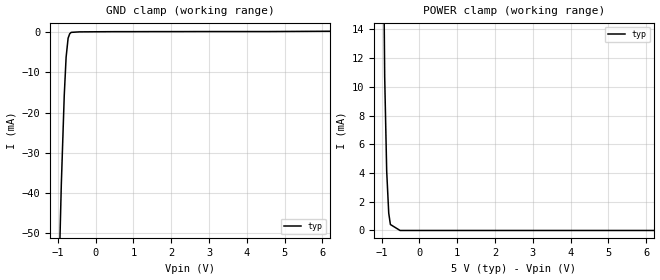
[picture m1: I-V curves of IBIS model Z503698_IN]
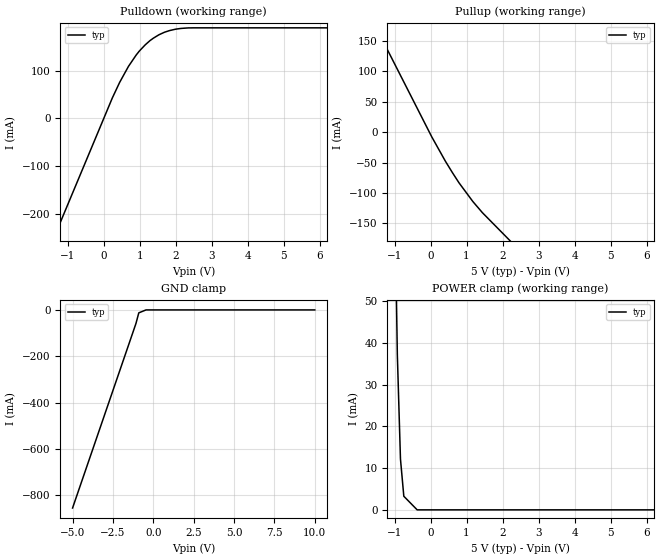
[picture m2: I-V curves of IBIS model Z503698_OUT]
| YOU ARE ONLY AUTHORIZED TO USE THIS SOFTWARE
| ACCORDING TO LICENSOR'S LICENSE RESTRICTIONS.
[IBIS Ver] 3.1
[File Name] mc74ac02n.ibs
[File Rev] 2.0
[Source] Measured and created by ICX Technology
[Date] Friday 7/14/00 9:07:58 AM
[Copyright]
| (C) COPYRIGHT 1993-2000
| MENTOR GRAPHICS CORPORATION
| ICX STANDARD LIBRARY, ICX PROJECT MODELING,
| ICX CUSTOM MODELING, ICX VENDOR MODEL
| ALL RIGHTS RESERVED.
| THE FOLLOWING ARE TRADEMARKS OR SERVICE MARKS OF
| MENTOR GRAPHICS CORPORATION:ICX (R), ICX STANDARD
| LIBRARY(R), ICX PROJECT MODELING(R), ICX CUSTOM
| MODELING(R), qualityIBIS(TM), MODELVIEWER(TM),
| AND MODELEDITOR(TM)
| ALL COPIES OF SOFTWARE, INCLUDING BUT NOT LIMITED TO
| ANY MODIFICATIONS, ENHANCEMENTS OR DERIVATIVE WORKS,
| MUST CONTAIN ALL MENTOR GRAPHICS CORPORATION'S
| NOTICES AND LEGENDS, INCLUDING THOSE EMBEDDED IN
| SOFTWARE AND THOSE AFFIXED TO SOFTWARE MEDIUM
| AND CONTAINER, AS RECEIVED FROM MENTOR GRAPHICS
| CORPORATION.
|  ZAP Model Builder 2.7
[Component] MC74AC02N
[Manufacturer] OnSemiconductor
[Package]
| variable   typ   min   max
R_pkg  .21ohms NA NA
L_pkg  4.543nH NA NA
C_pkg  1.059pF NA NA
[Pin] signal_name  model_name  R_pin  L_pin C_pin
1 Y Z503698_OUT .22 6.757n 1.432p
2 A Z503698_IN .212 4.757n 1.142p
3 B Z503698_IN .204 3.257n .852p
4 Y Z503698_OUT .196 2.257n .562p
5 A Z503698_IN .204 3.257n .852p
6 B Z503698_IN .212 4.757n 1.142p
7 GROUND GND .22 6.757n 1.432p
8 A Z503698_IN .22 6.757n 1.432p
9 B Z503698_IN .212 4.757n 1.142p
10 Y Z503698_OUT .204 3.257n .852p
11 A Z503698_IN .196 2.257n .562p
12 B Z503698_IN .204 3.257n .852p
13 Y Z503698_OUT .212 4.757n 1.142p
14 VCC POWER .22 6.757n 1.432p
| Models and submodels in the file (2): Z503698_IN (Input), Z503698_OUT (Output)
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| (C) COPYRIGHT 1993-2000
| MENTOR GRAPHICS CORPORATION
| ICX STANDARD LIBRARY, ICX PROJECT MODELING,
| ICX CUSTOM MODELING, ICX VENDOR MODEL
| ALL RIGHTS RESERVED.
| THE FOLLOWING ARE TRADEMARKS OR SERVICE MARKS OF
| MENTOR GRAPHICS CORPORATION:ICX (R), ICX STANDARD
| LIBRARY(R), ICX PROJECT MODELING(R), ICX CUSTOM
| MODELING(R), qualityIBIS(TM), MODELVIEWER(TM),
| AND MODELEDITOR(TM)
| ALL COPIES OF SOFTWARE, INCLUDING BUT NOT LIMITED TO
| ANY MODIFICATIONS, ENHANCEMENTS OR DERIVATIVE WORKS,
| MUST CONTAIN ALL MENTOR GRAPHICS CORPORATION'S
| NOTICES AND LEGENDS, INCLUDING THOSE EMBEDDED IN
| SOFTWARE AND THOSE AFFIXED TO SOFTWARE MEDIUM
| AND CONTAINER, AS RECEIVED FROM MENTOR GRAPHICS
| CORPORATION.
| Model Application Version 1.89 2/18/99.
[Model] Z503698_IN
Model_type Input
Vinl = 1.500V
Vinh = 3.500V
C_comp 4.000pF NA NA
| variable typ   min   max
[Voltage Range] 5.000V NA NA
[GND Clamp Reference] 0.000V NA NA
[POWER Clamp Reference] 5.000V NA NA
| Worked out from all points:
|   GND clamp passes 1 mA (typ) near -0.71 V on its own axis
|   POWER clamp passes 1 mA (typ) near -0.80 V on its own axis
[GND Clamp]
-5V       -2.801A    NA         NA
-1.006V   -74.34mA   NA         NA
-908.2mV  -37.91mA   NA         NA
-830.1mV  -15.66mA   NA         NA
-781.3mV  -6.231mA   NA         NA
-728.4mV  -1.49mA    NA         NA
-685.2mV  -374.1uA   NA         NA
-645.4mV  -40.24uA   NA         NA
10V       417.2uA    NA         NA
[POWER Clamp]
-5V       2.863A     NA         NA
-1.113V   91.3mA     NA         NA
-1.011V   38.32mA    NA         NA
-918mV    10.71mA    NA         NA
-865mV    4.129mA    NA         NA
-811mV    1.206mA    NA         NA
-767mV    416.4uA    NA         NA
-511.3mV  0A         NA         NA
10V       0A         NA         NA
| (C) COPYRIGHT 1993-2000
| MENTOR GRAPHICS CORPORATION
| ICX STANDARD LIBRARY, ICX PROJECT MODELING,
| ICX CUSTOM MODELING, ICX VENDOR MODEL
| ALL RIGHTS RESERVED.
| THE FOLLOWING ARE TRADEMARKS OR SERVICE MARKS OF
| MENTOR GRAPHICS CORPORATION:ICX (R), ICX STANDARD
| LIBRARY(R), ICX PROJECT MODELING(R), ICX CUSTOM
| MODELING(R), qualityIBIS(TM), MODELVIEWER(TM),
| AND MODELEDITOR(TM)
| ALL COPIES OF SOFTWARE, INCLUDING BUT NOT LIMITED TO
| ANY MODIFICATIONS, ENHANCEMENTS OR DERIVATIVE WORKS,
| MUST CONTAIN ALL MENTOR GRAPHICS CORPORATION'S
| NOTICES AND LEGENDS, INCLUDING THOSE EMBEDDED IN
| SOFTWARE AND THOSE AFFIXED TO SOFTWARE MEDIUM
| AND CONTAINER, AS RECEIVED FROM MENTOR GRAPHICS
| CORPORATION.
| Model Application Version 1.89 2/18/99.
[Model] Z503698_OUT
Model_type Output
Vref=0.000V
Rref=500.0ohms
Cref=50.00pF
Vmeas=2.500V
C_comp 8.000pF NA NA
| variable typ   min   max
[Voltage Range] 5.000V NA NA
[POWER Clamp Reference] 5.000V NA NA
[Pullup Reference] 5.000V NA NA
[Pulldown Reference] 0.000V NA NA
[GND Clamp Reference] 0.000V NA NA
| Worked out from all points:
|   slope of the pulldown table from 0 to 0.75 V, typ, clamps not added: 6.45 ohm
|   slope of the pullup table from 0 to 0.75 V, typ, clamps not added: 9.91 ohm
[GND Clamp]
-5V       -854.5mA   NA         NA
-1.074V   -58.63mA   NA         NA
-898.4mV  -12.69mA   NA         NA
-449.2mV  0A         NA         NA
10V       0A         NA         NA
[Pulldown]
-5V       -901.8mA   NA         NA
240.6mV   42.92mA    NA         NA
444.3mV   75.57mA    NA         NA
688.8mV   109mA      NA         NA
903.3mV   132.8mA    NA         NA
1.157V    154.3mA    NA         NA
1.289V    163.1mA    NA         NA
1.533V    175.1mA    NA         NA
1.689V    180.5mA    NA         NA
1.998V    186.9mA    NA         NA
2.358V    189.6mA    NA         NA
10V       189.7mA    NA         NA
[Pullup]
-5V       576.8mA    NA         NA
34mV      -7.802mA   NA         NA
411mV     -47.61mA   NA         NA
610mV     -66.76mA   NA         NA
791mV     -83.29mA   NA         NA
1.177V    -114.1mA   NA         NA
1.441V    -132.3mA   NA         NA
10V       -645.8mA   NA         NA
[POWER Clamp]
-5V       2.222A     NA         NA
-922mV    37.19mA    NA         NA
-835mV    12.19mA    NA         NA
-742mV    3.261mA    NA         NA
-371mV    0A         NA         NA
10V       0A         NA         NA
[Ramp]
| variable typ min max
dV/dt_r 2.966/381.7p NA NA
dV/dt_f 2.966/554.7p NA NA
R_load = 500.0Ohms
